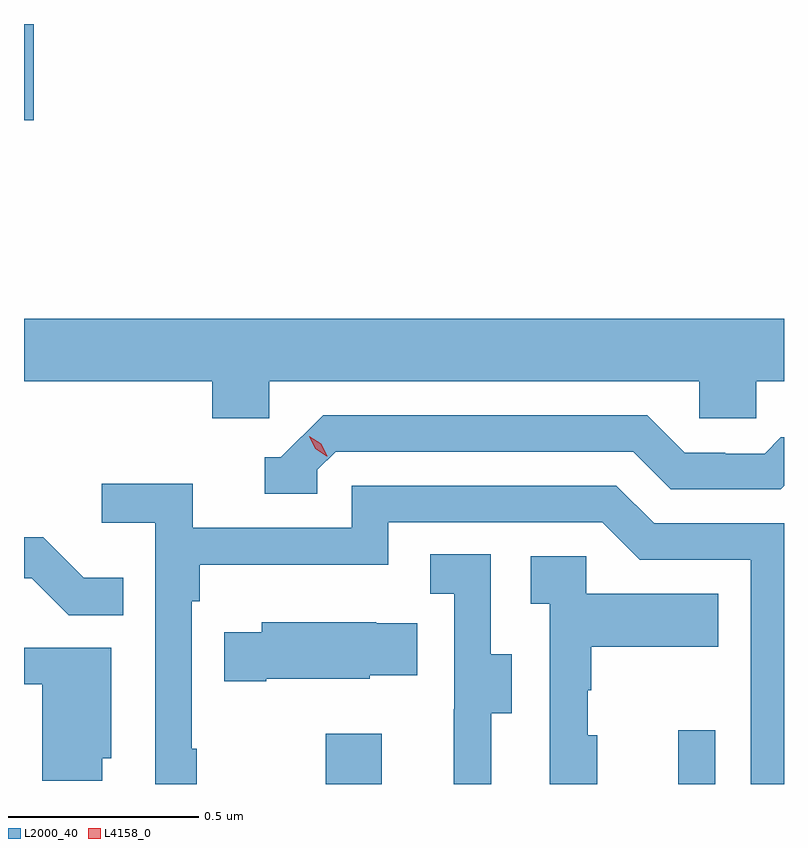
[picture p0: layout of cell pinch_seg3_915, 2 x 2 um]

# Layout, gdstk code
import gdstk
lib = gdstk.Library(unit=1e-6, precision=1e-09)
def R(c, l, rs):  # rectangles x0, y0, x1, y1
    for r in rs: c.add(gdstk.rectangle(r[:2], r[2:], *l))
def P(c, l, *ps):  # polygons
    for p in ps: c.add(gdstk.Polygon(p, *l))
L2000_40 = (2000, 40)
L4158_0 = (4158, 0)

pinch_seg3_915 = lib.new_cell('pinch_seg3_915')
R(pinch_seg3_915, L2000_40, [(866.902,699.856,867.049,699.988), (867.83,699.856,867.927,699.997), (866.108,701.603,866.134,701.856)])
P(pinch_seg3_915, L2000_40, [(866.754,700.916),(867.885,700.916),(867.885,700.818),(868.035,700.818),(868.035,700.916),(868.108,700.916),(868.108,701.08),(866.108,701.08),(866.108,700.916),(866.603,700.916),(866.603,700.818),(866.754,700.818)],
  [(866.88,700.683),(866.928,700.731),(867.711,700.731),(867.81,700.632),(868.099,700.632),(868.108,700.641),(868.108,700.768),(868.099,700.768),(868.057,700.725),(867.954,700.725),(867.954,700.728),(867.847,700.728),(867.748,700.827),(866.895,700.827),(866.784,700.716),(866.741,700.716),(866.741,700.62),(866.88,700.62)],
  [(866.563,699.949),(866.55,699.949),(866.55,700.337),(866.57,700.337),(866.57,700.433),(867.066,700.433),(867.066,700.545),(867.63,700.545),(867.729,700.446),(868.02,700.446),(868.02,699.856),(868.108,699.856),(868.108,700.542),(867.766,700.542),(867.667,700.641),(866.97,700.641),(866.97,700.53),(866.552,700.53),(866.552,700.646),(866.313,700.646),(866.313,700.544),(866.454,700.544),(866.454,699.856),(866.563,699.856)],
  [(866.369,700.399),(866.265,700.399),(866.158,700.506),(866.108,700.506),(866.108,700.398),(866.128,700.398),(866.226,700.3),(866.369,700.3)],
  [(867.337,700.042),(867.391,700.042),(867.391,700.197),(867.336,700.197),(867.336,700.46),(867.177,700.46),(867.177,700.357),(867.24,700.357),(867.24,700.053),(867.239,700.053),(867.239,699.856),(867.337,699.856)],
  [(867.616,699.984),(867.591,699.984),(867.591,700.103),(867.601,700.103),(867.601,700.217),(867.935,700.217),(867.935,700.357),(867.588,700.357),(867.588,700.455),(867.441,700.455),(867.441,700.331),(867.492,700.331),(867.492,699.856),(867.616,699.856)],
  [(866.746,700.133),(867.018,700.133),(867.018,700.142),(867.143,700.142),(867.143,700.279),(867.035,700.279),(867.035,700.282),(866.733,700.282),(866.733,700.255),(866.635,700.255),(866.635,700.126),(866.746,700.126)],
  [(866.314,699.924),(866.338,699.924),(866.338,700.215),(866.108,700.215),(866.108,700.119),(866.156,700.119),(866.156,699.864),(866.314,699.864)])
P(pinch_seg3_915, L4158_0, [(866.905,700.718),(866.875,700.738),(866.859,700.771),(866.859,700.771),(866.859,700.771),(866.89,700.751),(866.906,700.719),(866.906,700.718)])

lib.write_gds('pinch_seg3_915.gds')
